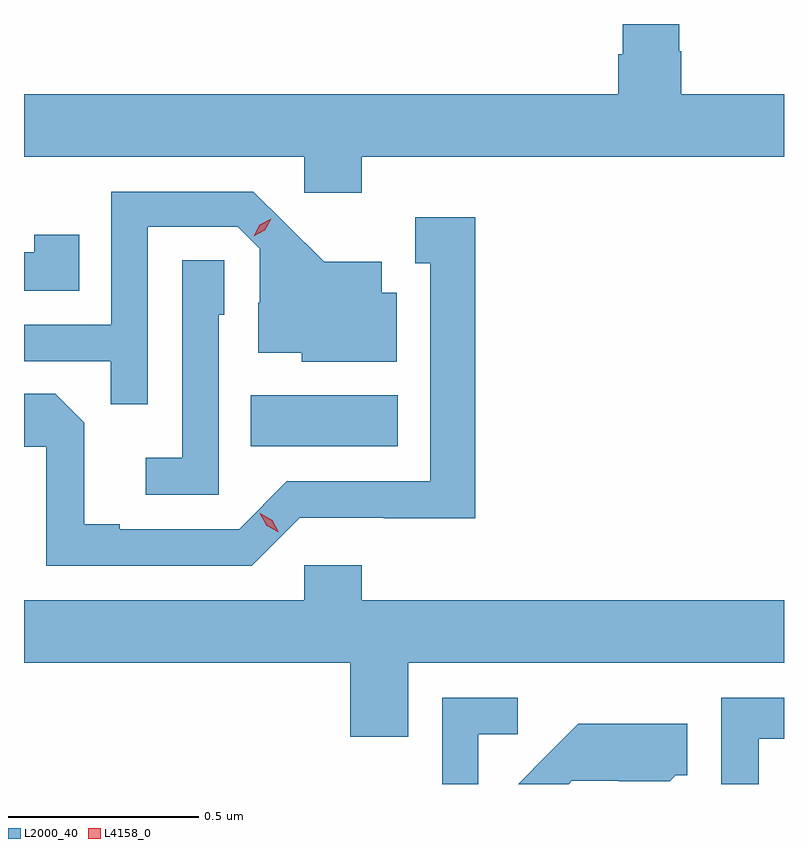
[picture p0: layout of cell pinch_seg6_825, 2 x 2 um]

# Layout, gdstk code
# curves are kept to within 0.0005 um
import gdstk
lib = gdstk.Library(unit=1e-6, precision=1e-09)
def R(c, l, rs):  # rectangles x0, y0, x1, y1
    for r in rs: c.add(gdstk.rectangle(r[:2], r[2:], *l))
def P(c, l, *ps):  # polygons
    for p in ps: c.add(gdstk.Polygon(p, *l))
L2000_40 = (2000, 40)
L4158_0 = (4158, 0)

pinch_seg6_825 = lib.new_cell('pinch_seg6_825')
R(pinch_seg6_825, L2000_40, [(145.36,985.202,145.747,985.336)])
P(pinch_seg6_825, L2000_40, [(145.652,985.964),(146.763,985.964),(146.763,986.128),(146.492,986.128),(146.492,986.241),(146.487,986.241),(146.487,986.313),(146.339,986.313),(146.339,986.234),(146.327,986.234),(146.327,986.128),(144.763,986.128),(144.763,985.964),(145.5,985.964),(145.5,985.869),(145.652,985.869)],
  [(145.089,985.779),(145.326,985.779),(145.383,985.722),(145.383,985.58),(145.379,985.58),(145.379,985.448),(145.494,985.448),(145.494,985.424),(145.744,985.424),(145.744,985.606),(145.705,985.606),(145.705,985.687),(145.553,985.687),(145.366,985.872),(144.993,985.872),(144.993,985.521),(144.763,985.521),(144.763,985.425),(144.991,985.425),(144.991,985.312),(145.089,985.312)],
  [(145.488,985.014),(145.71,985.014),(145.71,985.013),(145.951,985.013),(145.951,985.804),(145.793,985.804),(145.793,985.683),(145.832,985.683),(145.832,985.11),(145.455,985.11),(145.329,984.984),(145.015,984.984),(145.015,984.997),(144.921,984.997),(144.921,985.264),(144.845,985.34),(144.763,985.34),(144.763,985.2),(144.822,985.2),(144.822,984.888),(145.362,984.888)],
  [(144.908,985.759),(144.79,985.759),(144.79,985.712),(144.763,985.712),(144.763,985.611),(144.908,985.611)],
  [(145.275,985.548),(145.29,985.548),(145.29,985.691),(145.179,985.691),(145.179,985.171),(145.083,985.171),(145.083,985.074),(145.275,985.074)],
  [(145.774,984.632),(146.763,984.632),(146.763,984.796),(145.652,984.796),(145.652,984.889),(145.5,984.889),(145.5,984.796),(144.763,984.796),(144.763,984.632),(145.622,984.632),(145.622,984.438),(145.774,984.438)],
  [(145.959,984.444),(146.062,984.444),(146.062,984.54),(145.863,984.54),(145.863,984.313),(145.959,984.313)],
  [(146.697,984.432),(146.763,984.432),(146.763,984.54),(146.598,984.54),(146.598,984.313),(146.697,984.313)],
  [(146.205,984.321),(146.328,984.321),(146.328,984.32),(146.462,984.32),(146.478,984.336),(146.509,984.336),(146.509,984.472),(146.221,984.472),(146.141,984.391),(146.064,984.313),(146.197,984.313)])
P(pinch_seg6_825, L4158_0, [(145.434,984.975),(145.402,984.993),(145.384,985.026),(145.384,985.026),(145.385,985.026),(145.416,985.007),(145.434,984.975),(145.434,984.975)],
  [(145.367,985.755),(145.367,985.755),(145.383,985.785),(145.414,985.8),(145.414,985.8),(145.414,985.8),(145.397,985.77),(145.367,985.755)])

lib.write_gds('pinch_seg6_825.gds')
